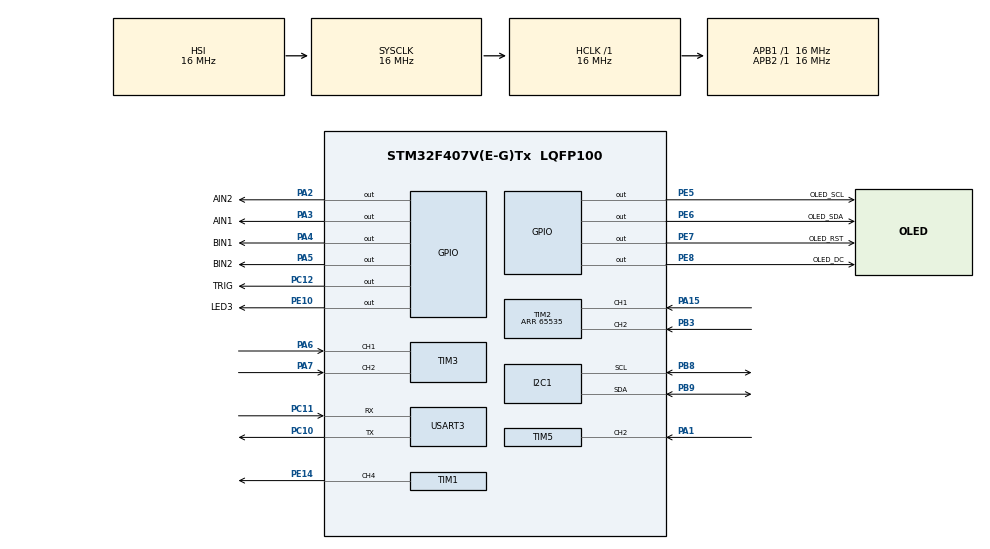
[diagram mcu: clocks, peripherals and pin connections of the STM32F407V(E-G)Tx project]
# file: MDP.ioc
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FREERTOS.Tasks01=defaultTask,24,128,StartDefaultTask,Default,NULL,Dynamic,NULL,NULL;show,8,128,showMsg,Default,NULL,Dynamic,NULL,NULL;MotorTask,8,128,motors,Default,NULL,Dynamic,NULL,NULL;EncoderTask,8,128,encoder,Default,NULL,Dynamic,NULL,NULL;GyroTask,8,128,gryo_task,Default,NULL,Dynamic,NULL,NULL
Mcu.Family=STM32F4
Mcu.Name=STM32F407V(E-G)Tx
Mcu.Package=LQFP100
NVIC.PriorityGroup=NVIC_PRIORITYGROUP_4
NVIC.TIM5_IRQn=true\:5\:0\:false\:false\:true\:true\:true\:true\:true
NVIC.USART3_IRQn=true\:5\:0\:false\:false\:true\:true\:true\:true\:true
PA1.Signal=S_TIM5_CH2
PA15.Signal=S_TIM2_CH1_ETR
PA2.GPIO_Label=AIN2
PA2.GPIO_Speed=GPIO_SPEED_FREQ_HIGH
PA2.Signal=GPIO_Output
PA3.GPIO_Label=AIN1
PA3.GPIO_Speed=GPIO_SPEED_FREQ_HIGH
PA3.Signal=GPIO_Output
PA4.GPIO_Label=BIN1
PA4.Signal=GPIO_Output
PA5.GPIO_Label=BIN2
PA5.Signal=GPIO_Output
PA6.Signal=S_TIM3_CH1
PA7.Signal=S_TIM3_CH2
PB3.Signal=S_TIM2_CH2
PB8.Mode=I2C
PB8.Signal=I2C1_SCL
PB9.Mode=I2C
PB9.Signal=I2C1_SDA
PC10.Mode=Asynchronous
PC10.Signal=USART3_TX
PC11.Mode=Asynchronous
PC11.Signal=USART3_RX
PC12.GPIO_Label=TRIG
PC12.Signal=GPIO_Output
PC6.GPIO_Label=PWMA
PC6.Signal=S_TIM8_CH1
PC7.GPIO_Label=PWMB
PC7.Signal=S_TIM8_CH2
PE10.GPIO_Label=LED3
PE10.Signal=GPIO_Output
PE14.Signal=S_TIM1_CH4
PE5.GPIO_Label=OLED_SCL
PE5.Signal=GPIO_Output
PE6.GPIO_Label=OLED_SDA
PE6.Signal=GPIO_Output
PE7.GPIO_Label=OLED_RST
PE7.Signal=GPIO_Output
PE8.GPIO_Label=OLED_DC
PE8.Signal=GPIO_Output
ProjectManager.HeapSize=0x200
ProjectManager.StackSize=0x400
ProjectManager.TargetToolchain=STM32CubeIDE
RCC.AHBFreq_Value=16000000
RCC.APB1Freq_Value=16000000
RCC.APB2Freq_Value=16000000
RCC.CortexFreq_Value=16000000
RCC.HSE_VALUE=25000000
RCC.HSI_VALUE=16000000
RCC.LSE_VALUE=32768
RCC.SYSCLKFreq_VALUE=16000000
RCC.VCOOutputFreq_Value=192000000
SH.S_TIM1_CH4.0=TIM1_CH4,PWM Generation4 CH4
SH.S_TIM2_CH1_ETR.0=TIM2_CH1,Encoder_Interface
SH.S_TIM2_CH2.0=TIM2_CH2,Encoder_Interface
SH.S_TIM3_CH1.0=TIM3_CH1,Encoder_Interface
SH.S_TIM3_CH2.0=TIM3_CH2,Encoder_Interface
SH.S_TIM5_CH2.0=TIM5_CH2,Input_Capture2_from_TI2
SH.S_TIM8_CH1.0=TIM8_CH1
SH.S_TIM8_CH2.0=TIM8_CH2
TIM1.AutoReloadPreload=TIM_AUTORELOAD_PRELOAD_ENABLE
TIM1.Channel-PWM\ Generation4\ CH4=TIM_CHANNEL_4
TIM1.Period=1000
TIM1.Prescaler=160
TIM2.EncoderMode=TIM_ENCODERMODE_TI12
TIM2.IC1Filter=10
TIM2.Period=65535
TIM3.EncoderMode=TIM_ENCODERMODE_TI12
TIM3.IC1Filter=10
TIM3.IC2Filter=10
TIM5.Channel-Input_Capture2_from_TI2=TIM_CHANNEL_2
TIM5.Period=65535
TIM5.Prescaler=16-1
TIM8.Channel-PWM\ Generation1\ No\ Output=TIM_CHANNEL_1
TIM8.Channel-PWM\ Generation2\ No\ Output=TIM_CHANNEL_2
TIM8.Period=7199
USART3.VirtualMode=VM_ASYNC
VP_FREERTOS_VS_CMSIS_V2.Mode=CMSIS_V2
VP_TIM1_VS_ClockSourceINT.Mode=Internal
VP_TIM8_VS_ClockSourceINT.Mode=Internal
VP_TIM8_VS_no_output1.Mode=PWM Generation1 No Output
VP_TIM8_VS_no_output2.Mode=PWM Generation2 No Output
board=custom

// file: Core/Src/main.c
/* USER CODE BEGIN Header */
/**
  ******************************************************************************
  * @file           : main.c
  * @brief          : Main program body
  ******************************************************************************
  * @attention
  *
  * Copyright (c) 2024 STMicroelectronics.
  * All rights reserved.
  *
  * This software is licensed under terms that can be found in the LICENSE file
  * in the root directory of this software component.
  * If no LICENSE file comes with this software, it is provided AS-IS.
  *
  ******************************************************************************
  */
/* USER CODE END Header */
#include "main.h"
#include "cmsis_os.h"

/* USER CODE BEGIN Includes */
#include "oled.h"
#include <string.h>
#include <stdio.h>
#include <stdlib.h>
#include "gyro.h"
#include "i2c.h"
/* USER CODE END Includes */

I2C_HandleTypeDef hi2c1;

TIM_HandleTypeDef htim1;
TIM_HandleTypeDef htim2;
TIM_HandleTypeDef htim3;
TIM_HandleTypeDef htim5;
TIM_HandleTypeDef htim8;

UART_HandleTypeDef huart3;

/* Definitions for defaultTask */
osThreadId_t defaultTaskHandle;
const osThreadAttr_t defaultTask_attributes = {
  .name = "defaultTask",
  .stack_size = 128 * 4,
  .priority = (osPriority_t) osPriorityNormal,
};
/* Definitions for show */
osThreadId_t showHandle;
const osThreadAttr_t show_attributes = {
  .name = "show",
  .stack_size = 128 * 4,
  .priority = (osPriority_t) osPriorityLow,
};
/* Definitions for MotorTask */
osThreadId_t MotorTaskHandle;
const osThreadAttr_t MotorTask_attributes = {
  .name = "MotorTask",
  .stack_size = 128 * 4,
  .priority = (osPriority_t) osPriorityLow,
};
/* Definitions for EncoderTask */
osThreadId_t EncoderTaskHandle;
const osThreadAttr_t EncoderTask_attributes = {
  .name = "EncoderTask",
  .stack_size = 128 * 4,
  .priority = (osPriority_t) osPriorityLow,
};
/* Definitions for GyroTask */
osThreadId_t GyroTaskHandle;
const osThreadAttr_t GyroTask_attributes = {
  .name = "GyroTask",
  .stack_size = 128 * 4,
  .priority = (osPriority_t) osPriorityLow,
};
/* USER CODE BEGIN PV */
//Queue struct
//to define the nodes for the queue
typedef struct _listnode{
    uint8_t msg[4]; //type for every instruction
    struct _listnode *next;
} ListNode;

typedef ListNode QueueNode; //define QueueNode as a ListNode structure

typedef struct _queue{
   int size; //amount of instructions in the queue
   ListNode *head;
   ListNode *tail;
} Queue;
/* USER CODE END PV */

void SystemClock_Config(void);
static void MX_GPIO_Init(void);
static void MX_TIM8_Init(void);
static void MX_TIM2_Init(void);
static void MX_TIM3_Init(void);
static void MX_USART3_UART_Init(void);
static void MX_TIM1_Init(void);
static void MX_I2C1_Init(void);
static void MX_TIM5_Init(void);
void StartDefaultTask(void *argument);
void showMsg(void *argument);
void motors(void *argument);
void encoder(void *argument);
void gryo_task(void *argument);

/* USER CODE BEGIN PFP */

//Prototypes of Interface functions for Queue structure
void enqueue(Queue *qPtr, uint8_t msg[4]);
int dequeue(Queue *qPtr);
void getFront(Queue q);
int isEmptyQueue(Queue q);
void deleteQueue(Queue *qPtr);

void usDelay(uint16_t time){
	__HAL_TIM_SET_COUNTER(&htim5, 0);
	while(__HAL_TIM_GET_COUNTER (&htim5) < time);
}

/* USER CODE END PFP */

/* USER CODE BEGIN 0 */
uint8_t aRxBuffer[50];

uint8_t frontback = 'w';	// Front/back character
uint8_t fb_speed = '0';		// Front/back speed
uint8_t leftright = 'a';	// Left/right character
uint8_t lr_speed = '0';		// Left/right speed

double curAngle = 0; 		// angle via gyro

int encoder_offset = 0; // Adds to motor pwm for straight movement
int encoder_error = 0;	// Current error value for encoder
uint32_t encoder_dist = 0;	// Total distance estimation (counting encoder pulses)

uint16_t pwmVal_servo = 148; // servo centre

Queue q;

int turn_angle_l = 118;	// gyro turn threshold for 90deg
int turn_angle_r = 118;

// GGGGGGGGG
// Ultrasonic Sensor
uint8_t msg[2] = {'W','1'};

uint32_t IC_Val1 = 0;
uint32_t IC_Val2 = 0;
uint32_t Difference = 0;
uint8_t Is_First_Captured = 0;	//1st value captured
uint8_t Distance = 5;

void HCSR04_Read (void)
{
	HAL_GPIO_WritePin(TRIG_GPIO_Port, TRIG_Pin, GPIO_PIN_SET);  // pull the TRIG pin HIGH
	usDelay(10);  // wait for 10 us
	HAL_GPIO_WritePin(TRIG_GPIO_Port, TRIG_Pin, GPIO_PIN_RESET);  // pull the TRIG pin low
	__HAL_TIM_ENABLE_IT(&htim5, TIM_IT_CC2);
}
/* USER CODE END 0 */

int main(void)
{

  /* MCU Configuration--------------------------------------------------------*/

  /* Reset of all peripherals, Initializes the Flash interface and the Systick. */
  HAL_Init();

  /* Configure the system clock */
  SystemClock_Config();

  /* Initialize all configured peripherals */
  MX_GPIO_Init();
  MX_TIM8_Init();
  MX_TIM2_Init();
  MX_TIM3_Init();
  MX_USART3_UART_Init();
  MX_TIM1_Init();
  MX_I2C1_Init();
  MX_TIM5_Init();
  /* USER CODE BEGIN 2 */
  OLED_Init();
  gyroInit();
  HAL_UART_Receive_IT(&huart3, (uint8_t *)aRxBuffer, 10);
  HAL_TIM_IC_Start_IT(&htim5, TIM_CHANNEL_2);
  /* USER CODE END 2 */

  /* Init scheduler */
  osKernelInitialize();

  /* Create the thread(s) */
  /* creation of defaultTask */
  defaultTaskHandle = osThreadNew(StartDefaultTask, NULL, &defaultTask_attributes);

  /* creation of show */
  showHandle = osThreadNew(showMsg, NULL, &show_attributes);

  /* creation of MotorTask */
  MotorTaskHandle = osThreadNew(motors, NULL, &MotorTask_attributes);

  /* creation of EncoderTask */
  EncoderTaskHandle = osThreadNew(encoder, NULL, &EncoderTask_attributes);

  /* creation of GyroTask */
  GyroTaskHandle = osThreadNew(gryo_task, NULL, &GyroTask_attributes);

  /* Start scheduler */
  osKernelStart();

  /* We should never get here as control is now taken by the scheduler */
  /* Infinite loop */
  while (1)
  {

  }
}

void SystemClock_Config(void)
{
  RCC_OscInitTypeDef RCC_OscInitStruct = {0};
  RCC_ClkInitTypeDef RCC_ClkInitStruct = {0};

  /** Configure the main internal regulator output voltage
  */
  __HAL_RCC_PWR_CLK_ENABLE();
  __HAL_PWR_VOLTAGESCALING_CONFIG(PWR_REGULATOR_VOLTAGE_SCALE1);

  /** Initializes the RCC Oscillators according to the specified parameters
  * in the RCC_OscInitTypeDef structure.
  */
  RCC_OscInitStruct.OscillatorType = RCC_OSCILLATORTYPE_HSI;
  RCC_OscInitStruct.HSIState = RCC_HSI_ON;
  RCC_OscInitStruct.HSICalibrationValue = RCC_HSICALIBRATION_DEFAULT;
  RCC_OscInitStruct.PLL.PLLState = RCC_PLL_NONE;
  if (HAL_RCC_OscConfig(&RCC_OscInitStruct) != HAL_OK)
  {
    Error_Handler();
  }

  /** Initializes the CPU, AHB and APB buses clocks
  */
  RCC_ClkInitStruct.ClockType = RCC_CLOCKTYPE_HCLK|RCC_CLOCKTYPE_SYSCLK
                              |RCC_CLOCKTYPE_PCLK1|RCC_CLOCKTYPE_PCLK2;
  RCC_ClkInitStruct.SYSCLKSource = RCC_SYSCLKSOURCE_HSI;
  RCC_ClkInitStruct.AHBCLKDivider = RCC_SYSCLK_DIV1;
  RCC_ClkInitStruct.APB1CLKDivider = RCC_HCLK_DIV1;
  RCC_ClkInitStruct.APB2CLKDivider = RCC_HCLK_DIV1;

  if (HAL_RCC_ClockConfig(&RCC_ClkInitStruct, FLASH_LATENCY_0) != HAL_OK)
  {
    Error_Handler();
  }
}

static void MX_I2C1_Init(void)
{

  hi2c1.Instance = I2C1;
  hi2c1.Init.ClockSpeed = 100000;
  hi2c1.Init.DutyCycle = I2C_DUTYCYCLE_2;
  hi2c1.Init.OwnAddress1 = 0;
  hi2c1.Init.AddressingMode = I2C_ADDRESSINGMODE_7BIT;
  hi2c1.Init.DualAddressMode = I2C_DUALADDRESS_DISABLE;
  hi2c1.Init.OwnAddress2 = 0;
  hi2c1.Init.GeneralCallMode = I2C_GENERALCALL_DISABLE;
  hi2c1.Init.NoStretchMode = I2C_NOSTRETCH_DISABLE;
  if (HAL_I2C_Init(&hi2c1) != HAL_OK)
  {
    Error_Handler();
  }

}

static void MX_TIM1_Init(void)
{

  TIM_ClockConfigTypeDef sClockSourceConfig = {0};
  TIM_MasterConfigTypeDef sMasterConfig = {0};
  TIM_OC_InitTypeDef sConfigOC = {0};
  TIM_BreakDeadTimeConfigTypeDef sBreakDeadTimeConfig = {0};

  htim1.Instance = TIM1;
  htim1.Init.Prescaler = 160;
  htim1.Init.CounterMode = TIM_COUNTERMODE_UP;
  htim1.Init.Period = 1000;
  htim1.Init.ClockDivision = TIM_CLOCKDIVISION_DIV1;
  htim1.Init.RepetitionCounter = 0;
  htim1.Init.AutoReloadPreload = TIM_AUTORELOAD_PRELOAD_ENABLE;
  if (HAL_TIM_Base_Init(&htim1) != HAL_OK)
  {
    Error_Handler();
  }
  sClockSourceConfig.ClockSource = TIM_CLOCKSOURCE_INTERNAL;
  if (HAL_TIM_ConfigClockSource(&htim1, &sClockSourceConfig) != HAL_OK)
  {
    Error_Handler();
  }
  if (HAL_TIM_PWM_Init(&htim1) != HAL_OK)
  {
    Error_Handler();
  }
  sMasterConfig.MasterOutputTrigger = TIM_TRGO_RESET;
  sMasterConfig.MasterSlaveMode = TIM_MASTERSLAVEMODE_DISABLE;
  if (HAL_TIMEx_MasterConfigSynchronization(&htim1, &sMasterConfig) != HAL_OK)
  {
    Error_Handler();
  }
  sConfigOC.OCMode = TIM_OCMODE_PWM1;
  sConfigOC.Pulse = 0;
  sConfigOC.OCPolarity = TIM_OCPOLARITY_HIGH;
  sConfigOC.OCFastMode = TIM_OCFAST_DISABLE;
  sConfigOC.OCIdleState = TIM_OCIDLESTATE_RESET;
  sConfigOC.OCNIdleState = TIM_OCNIDLESTATE_RESET;
  if (HAL_TIM_PWM_ConfigChannel(&htim1, &sConfigOC, TIM_CHANNEL_4) != HAL_OK)
  {
    Error_Handler();
  }
  sBreakDeadTimeConfig.OffStateRunMode = TIM_OSSR_DISABLE;
  sBreakDeadTimeConfig.OffStateIDLEMode = TIM_OSSI_DISABLE;
  sBreakDeadTimeConfig.LockLevel = TIM_LOCKLEVEL_OFF;
  sBreakDeadTimeConfig.DeadTime = 0;
  sBreakDeadTimeConfig.BreakState = TIM_BREAK_DISABLE;
  sBreakDeadTimeConfig.BreakPolarity = TIM_BREAKPOLARITY_HIGH;
  sBreakDeadTimeConfig.AutomaticOutput = TIM_AUTOMATICOUTPUT_DISABLE;
  if (HAL_TIMEx_ConfigBreakDeadTime(&htim1, &sBreakDeadTimeConfig) != HAL_OK)
  {
    Error_Handler();
  }
  HAL_TIM_MspPostInit(&htim1);

}

static void MX_TIM2_Init(void)
{

  TIM_Encoder_InitTypeDef sConfig = {0};
  TIM_MasterConfigTypeDef sMasterConfig = {0};

  htim2.Instance = TIM2;
  htim2.Init.Prescaler = 0;
  htim2.Init.CounterMode = TIM_COUNTERMODE_UP;
  htim2.Init.Period = 65535;
  htim2.Init.ClockDivision = TIM_CLOCKDIVISION_DIV1;
  htim2.Init.AutoReloadPreload = TIM_AUTORELOAD_PRELOAD_DISABLE;
  sConfig.EncoderMode = TIM_ENCODERMODE_TI12;
  sConfig.IC1Polarity = TIM_ICPOLARITY_RISING;
  sConfig.IC1Selection = TIM_ICSELECTION_DIRECTTI;
  sConfig.IC1Prescaler = TIM_ICPSC_DIV1;
  sConfig.IC1Filter = 10;
  sConfig.IC2Polarity = TIM_ICPOLARITY_RISING;
  sConfig.IC2Selection = TIM_ICSELECTION_DIRECTTI;
  sConfig.IC2Prescaler = TIM_ICPSC_DIV1;
  sConfig.IC2Filter = 0;
  if (HAL_TIM_Encoder_Init(&htim2, &sConfig) != HAL_OK)
  {
    Error_Handler();
  }
  sMasterConfig.MasterOutputTrigger = TIM_TRGO_RESET;
  sMasterConfig.MasterSlaveMode = TIM_MASTERSLAVEMODE_DISABLE;
  if (HAL_TIMEx_MasterConfigSynchronization(&htim2, &sMasterConfig) != HAL_OK)
  {
    Error_Handler();
  }

}

static void MX_TIM3_Init(void)
{

  TIM_Encoder_InitTypeDef sConfig = {0};
  TIM_MasterConfigTypeDef sMasterConfig = {0};

  htim3.Instance = TIM3;
  htim3.Init.Prescaler = 0;
  htim3.Init.CounterMode = TIM_COUNTERMODE_UP;
  htim3.Init.Period = 65535;
  htim3.Init.ClockDivision = TIM_CLOCKDIVISION_DIV1;
  htim3.Init.AutoReloadPreload = TIM_AUTORELOAD_PRELOAD_DISABLE;
  sConfig.EncoderMode = TIM_ENCODERMODE_TI12;
  sConfig.IC1Polarity = TIM_ICPOLARITY_RISING;
  sConfig.IC1Selection = TIM_ICSELECTION_DIRECTTI;
  sConfig.IC1Prescaler = TIM_ICPSC_DIV1;
  sConfig.IC1Filter = 10;
  sConfig.IC2Polarity = TIM_ICPOLARITY_RISING;
  sConfig.IC2Selection = TIM_ICSELECTION_DIRECTTI;
  sConfig.IC2Prescaler = TIM_ICPSC_DIV1;
  sConfig.IC2Filter = 10;
  if (HAL_TIM_Encoder_Init(&htim3, &sConfig) != HAL_OK)
  {
    Error_Handler();
  }
  sMasterConfig.MasterOutputTrigger = TIM_TRGO_RESET;
  sMasterConfig.MasterSlaveMode = TIM_MASTERSLAVEMODE_DISABLE;
  if (HAL_TIMEx_MasterConfigSynchronization(&htim3, &sMasterConfig) != HAL_OK)
  {
    Error_Handler();
  }

}

static void MX_TIM5_Init(void)
{

  TIM_MasterConfigTypeDef sMasterConfig = {0};
  TIM_IC_InitTypeDef sConfigIC = {0};

  htim5.Instance = TIM5;
  htim5.Init.Prescaler = 16-1;
  htim5.Init.CounterMode = TIM_COUNTERMODE_UP;
  htim5.Init.Period = 65535;
  htim5.Init.ClockDivision = TIM_CLOCKDIVISION_DIV1;
  htim5.Init.AutoReloadPreload = TIM_AUTORELOAD_PRELOAD_DISABLE;
  if (HAL_TIM_IC_Init(&htim5) != HAL_OK)
  {
    Error_Handler();
  }
  sMasterConfig.MasterOutputTrigger = TIM_TRGO_RESET;
  sMasterConfig.MasterSlaveMode = TIM_MASTERSLAVEMODE_DISABLE;
  if (HAL_TIMEx_MasterConfigSynchronization(&htim5, &sMasterConfig) != HAL_OK)
  {
    Error_Handler();
  }
  sConfigIC.ICPolarity = TIM_INPUTCHANNELPOLARITY_RISING;
  sConfigIC.ICSelection = TIM_ICSELECTION_DIRECTTI;
  sConfigIC.ICPrescaler = TIM_ICPSC_DIV1;
  sConfigIC.ICFilter = 0;
  if (HAL_TIM_IC_ConfigChannel(&htim5, &sConfigIC, TIM_CHANNEL_2) != HAL_OK)
  {
    Error_Handler();
  }

}

static void MX_TIM8_Init(void)
{

  TIM_ClockConfigTypeDef sClockSourceConfig = {0};
  TIM_MasterConfigTypeDef sMasterConfig = {0};
  TIM_OC_InitTypeDef sConfigOC = {0};
  TIM_BreakDeadTimeConfigTypeDef sBreakDeadTimeConfig = {0};

  htim8.Instance = TIM8;
  htim8.Init.Prescaler = 0;
  htim8.Init.CounterMode = TIM_COUNTERMODE_UP;
  htim8.Init.Period = 7199;
  htim8.Init.ClockDivision = TIM_CLOCKDIVISION_DIV1;
  htim8.Init.RepetitionCounter = 0;
  htim8.Init.AutoReloadPreload = TIM_AUTORELOAD_PRELOAD_DISABLE;
  if (HAL_TIM_Base_Init(&htim8) != HAL_OK)
  {
    Error_Handler();
  }
  sClockSourceConfig.ClockSource = TIM_CLOCKSOURCE_INTERNAL;
  if (HAL_TIM_ConfigClockSource(&htim8, &sClockSourceConfig) != HAL_OK)
  {
    Error_Handler();
  }
  if (HAL_TIM_PWM_Init(&htim8) != HAL_OK)
  {
    Error_Handler();
  }
  sMasterConfig.MasterOutputTrigger = TIM_TRGO_RESET;
  sMasterConfig.MasterSlaveMode = TIM_MASTERSLAVEMODE_DISABLE;
  if (HAL_TIMEx_MasterConfigSynchronization(&htim8, &sMasterConfig) != HAL_OK)
  {
    Error_Handler();
  }
  sConfigOC.OCMode = TIM_OCMODE_PWM1;
  sConfigOC.Pulse = 0;
  sConfigOC.OCPolarity = TIM_OCPOLARITY_HIGH;
  sConfigOC.OCNPolarity = TIM_OCNPOLARITY_HIGH;
  sConfigOC.OCFastMode = TIM_OCFAST_DISABLE;
  sConfigOC.OCIdleState = TIM_OCIDLESTATE_RESET;
  sConfigOC.OCNIdleState = TIM_OCNIDLESTATE_RESET;
  if (HAL_TIM_PWM_ConfigChannel(&htim8, &sConfigOC, TIM_CHANNEL_1) != HAL_OK)
  {
    Error_Handler();
  }
  if (HAL_TIM_PWM_ConfigChannel(&htim8, &sConfigOC, TIM_CHANNEL_2) != HAL_OK)
  {
    Error_Handler();
  }
  sBreakDeadTimeConfig.OffStateRunMode = TIM_OSSR_DISABLE;
  sBreakDeadTimeConfig.OffStateIDLEMode = TIM_OSSI_DISABLE;
  sBreakDeadTimeConfig.LockLevel = TIM_LOCKLEVEL_OFF;
  sBreakDeadTimeConfig.DeadTime = 0;
  sBreakDeadTimeConfig.BreakState = TIM_BREAK_DISABLE;
  sBreakDeadTimeConfig.BreakPolarity = TIM_BREAKPOLARITY_HIGH;
  sBreakDeadTimeConfig.AutomaticOutput = TIM_AUTOMATICOUTPUT_DISABLE;
  if (HAL_TIMEx_ConfigBreakDeadTime(&htim8, &sBreakDeadTimeConfig) != HAL_OK)
  {
    Error_Handler();
  }

}

static void MX_USART3_UART_Init(void)
{

  huart3.Instance = USART3;
  huart3.Init.BaudRate = 115200;
  huart3.Init.WordLength = UART_WORDLENGTH_8B;
  huart3.Init.StopBits = UART_STOPBITS_1;
  huart3.Init.Parity = UART_PARITY_NONE;
  huart3.Init.Mode = UART_MODE_TX_RX;
  huart3.Init.HwFlowCtl = UART_HWCONTROL_NONE;
  huart3.Init.OverSampling = UART_OVERSAMPLING_16;
  if (HAL_UART_Init(&huart3) != HAL_OK)
  {
    Error_Handler();
  }

}

static void MX_GPIO_Init(void)
{
  GPIO_InitTypeDef GPIO_InitStruct = {0};

  /* GPIO Ports Clock Enable */
  __HAL_RCC_GPIOE_CLK_ENABLE();
  __HAL_RCC_GPIOA_CLK_ENABLE();
  __HAL_RCC_GPIOC_CLK_ENABLE();
  __HAL_RCC_GPIOB_CLK_ENABLE();

  /*Configure GPIO pin Output Level */
  HAL_GPIO_WritePin(GPIOE, OLED_SCL_Pin|OLED_SDA_Pin|OLED_RST_Pin|OLED_DC_Pin
                          |LED3_Pin, GPIO_PIN_RESET);

  /*Configure GPIO pin Output Level */
  HAL_GPIO_WritePin(GPIOA, AIN2_Pin|AIN1_Pin|BIN1_Pin|BIN2_Pin, GPIO_PIN_RESET);

  /*Configure GPIO pin Output Level */
  HAL_GPIO_WritePin(TRIG_GPIO_Port, TRIG_Pin, GPIO_PIN_RESET);

  /*Configure GPIO pins : OLED_SCL_Pin OLED_SDA_Pin OLED_RST_Pin OLED_DC_Pin
                           LED3_Pin */
  GPIO_InitStruct.Pin = OLED_SCL_Pin|OLED_SDA_Pin|OLED_RST_Pin|OLED_DC_Pin
                          |LED3_Pin;
  GPIO_InitStruct.Mode = GPIO_MODE_OUTPUT_PP;
  GPIO_InitStruct.Pull = GPIO_NOPULL;
  GPIO_InitStruct.Speed = GPIO_SPEED_FREQ_LOW;
  HAL_GPIO_Init(GPIOE, &GPIO_InitStruct);

  /*Configure GPIO pins : AIN2_Pin AIN1_Pin */
  GPIO_InitStruct.Pin = AIN2_Pin|AIN1_Pin;
  GPIO_InitStruct.Mode = GPIO_MODE_OUTPUT_PP;
  GPIO_InitStruct.Pull = GPIO_NOPULL;
  GPIO_InitStruct.Speed = GPIO_SPEED_FREQ_HIGH;
  HAL_GPIO_Init(GPIOA, &GPIO_InitStruct);

  /*Configure GPIO pins : BIN1_Pin BIN2_Pin */
  GPIO_InitStruct.Pin = BIN1_Pin|BIN2_Pin;
  GPIO_InitStruct.Mode = GPIO_MODE_OUTPUT_PP;
  GPIO_InitStruct.Pull = GPIO_NOPULL;
  GPIO_InitStruct.Speed = GPIO_SPEED_FREQ_LOW;
  HAL_GPIO_Init(GPIOA, &GPIO_InitStruct);

  /*Configure GPIO pin : TRIG_Pin */
  GPIO_InitStruct.Pin = TRIG_Pin;
  GPIO_InitStruct.Mode = GPIO_MODE_OUTPUT_PP;
  GPIO_InitStruct.Pull = GPIO_NOPULL;
  GPIO_InitStruct.Speed = GPIO_SPEED_FREQ_LOW;
  HAL_GPIO_Init(TRIG_GPIO_Port, &GPIO_InitStruct);

}

/* USER CODE BEGIN 4 */
void HAL_UART_RxCpltCallback(UART_HandleTypeDef *huart){

	UNUSED(huart);

	//enqueue(&q,aRxBuffer);

	HAL_UART_Transmit(&huart3,(uint8_t *) aRxBuffer,10,0xFFFF);
	HAL_GPIO_TogglePin(LED3_GPIO_Port, LED3_Pin);
}

//linked list code
void reset_motorVal(){
	// Reset Values
	frontback = 'w';	// Front/back character
	fb_speed = '0';	// Front/back speed
	leftright = 'a';	// Left/right character
	lr_speed = '0';	// Left/right speed
}

//input stuff into the queue
void enqueue(Queue *qPtr, uint8_t msg[4]){
    QueueNode *newNode;
    newNode = (QueueNode *) malloc(sizeof(QueueNode));
    for(int i=0; i<4; i++){
        newNode->msg[i] = msg[i];
    }
    newNode->next = NULL;

    if(isEmptyQueue(*qPtr))
        qPtr->head=newNode;
    else
        qPtr->tail->next = newNode;

    qPtr->tail = newNode;
    qPtr->size++;
}
int dequeue(Queue *qPtr){
    if(qPtr==NULL || qPtr->head==NULL){ //Queue is empty or NULL pointer
        return 0;
    }
    else{
       QueueNode *temp = qPtr->head;
       qPtr->head = qPtr->head->next;
       if(qPtr->head == NULL) //Queue is emptied
           qPtr->tail = NULL;

       free(temp);
       qPtr->size--;
       return 1;
    }
}

//get the front of the queue (not sure if working)
void getFront(Queue q){
        frontback = (uint8_t)(q.head->msg[0]);
        fb_speed = (uint8_t)(q.head->msg[1]);
        leftright = (uint8_t)(q.head->msg[2]);
        lr_speed = (uint8_t)(q.head->msg[3]);
}

//check if queue is empty (output 1 if empty, 0 if not empty)
int isEmptyQueue(Queue q){
    if(q.size==0) return 1;
    else return 0;
}

//delete the whole queue
void deleteQueue(Queue *qPtr)
{
    while(dequeue(qPtr));
}
/* USER CODE END 4 */

void StartDefaultTask(void *argument)
{
  /* USER CODE BEGIN 5 */
  /* Infinite loop */
  uint8_t ch = 'A';
  for(;;)
  {
	HAL_UART_Transmit(&huart3, (uint8_t *)&ch,1, 0xFFFF);
	if(ch<'Z')
		ch++;
	else ch = 'A';

	HAL_GPIO_TogglePin(LED3_GPIO_Port, LED3_Pin);
	osDelay(1000);
  }
  /* USER CODE END 5 */
}

void showMsg(void *argument)
{
  /* USER CODE BEGIN showMsg */
  uint8_t test[20] = "testing\0";

  /* Infinite loop */
  for(;;)
  {
   sprintf(test, "%s\0", aRxBuffer);
   OLED_ShowString(10,20,test);
   OLED_Refresh_Gram();
   osDelay(1000);
  }
  /* USER CODE END showMsg */
}

void motors(void *argument)
{
	/* USER CODE BEGIN motor */
	uint16_t servo_max = 5;		// Servo_max * (0-9) = servo_value

	// For differential steering
	double motor_offset_r = 1;
	double motor_offset_l = 1;

	uint16_t pwmVal_motor = 0;	// Current motor pwm value
	uint16_t motor_min = 1000;// Min value for pwm to complete 2 instruction without stopping
	uint16_t motor_increment = 100;
	uint8_t accelerate;

	uint16_t motor_reference;	// Reference pwm value for motor
	uint32_t target_dist;	// Distance to travel

	// PID Values
	uint8_t kp = 3;
	uint8_t ki = 0.8;

	uint8_t kp_back = 2;

	// Distance Values
	uint8_t grad = 160;
	uint8_t y_intercept = 55;

	int16_t eintegral = 0;	// Integral error
	int32_t err;			// To total error for Integral
	int back_angle_threshold;

	// Set servo value to centre
	uint8_t servo_val = pwmVal_servo;

	// Adds to servo middle value to find the goddamn pictures
	uint8_t search_dir = 0;

	HAL_TIM_PWM_Start(&htim8, TIM_CHANNEL_1);
	HAL_TIM_PWM_Start(&htim8, TIM_CHANNEL_2);
	HAL_TIM_PWM_Start(&htim1, TIM_CHANNEL_4);

	int turn_angle;
	int stuck;
	// Initialize your queue
	Queue q = { 0, NULL, NULL };

	// Define your instructions using the uint8_t arrays where:
	// msg[0] - Front/Back instruction ('w' for forward, 's' for backward, 'k' for stop)
	// msg[1] - Distance back and front
	// msg[2] - Left/Right instruction ('a' for left, 'd' for right, '0' for center)
	// msg[3] - Speed for turning

	// Create instructions
	uint8_t reset[] = {'z', '0', '0', '0'}; // Stop
	uint8_t stop[] = {'k', '0', '0', '0'}; // Stop
	//uint8_t F3[] = {'w', '1', '0', '0'}; // Move forward with speed level 3 and turn left with speed level 4
	uint8_t up_right_90[] = {'w', '5', 'd','8'}; // Move forward with speed level 3 and turn left with speed level 4
	uint8_t up_right_45[] = {'w', '5', 'd','5'}; // Move forward with speed level 3 and turn left with speed level 4
	uint8_t up_left_90[] = {'w', '5', 'a','9'}; // Move forward with speed level 3 and turn left with speed level 4
	uint8_t up_left_45[] = {'w', '5', 'a','5'}; // Move forward with speed level 3 and turn left with speed level 4
	uint8_t up_max[] = {'w', '9', '0','0'}; // Move forward with speed level 3 and turn left with speed level 4

	// Enqueue the instructions
	enqueue(&q, reset);
	enqueue(&q, up_right_90);
	enqueue(&q, up_max);
	enqueue(&q, up_left_45);
	enqueue(&q, up_max);
	enqueue(&q, up_right_45);
	enqueue(&q, up_max);
	enqueue(&q, up_right_45);

	/* Infinite loop */
	for (;;) {
		if (isEmptyQueue(q) != 1) {
			stuck = 0;
			uint8_t hello[20];

			// Setting values according to queue head
			getFront(q);
			// Reset Encoder distance measurement
			encoder_dist = 0;
			// Integral error
			eintegral = 0;

			// Default: Start with acceleration
			accelerate = 1;
			target_dist = (int) ((fb_speed - 48) * grad - y_intercept);
			if (target_dist <= 0)
				target_dist = 0;

			// Display direction of movement
			sprintf(hello, "Dir %c : %3d\0", frontback, (fb_speed - 48));
			OLED_ShowString(10, 30, hello);

			// Check if moving straight or turn
			if (lr_speed == '0') {
				//Move faster if straight
				motor_reference = 2800;
			}

			else
				motor_reference = 1600;

			// Turn Servo to desired position
			// Centre - offset for left turn
			if (leftright == 'a') {
				// Decrease in servo's position from center
				// -48 to convert ASCII to integer
				// servo_max declared at 5
				htim1.Instance->CCR4 = pwmVal_servo - 1.1 * (lr_speed - 48) * servo_max;
				// right motor offset
				// right motor spins more due to differential steering
				motor_offset_r = 0.03 * (lr_speed - 48) + 1;
				motor_offset_l = 1;

				// Front Gyro threshold
				if (frontback == 'w')
					// if traveling forward then angle = left turn angle
					turn_angle = turn_angle_l;
				// Back Gyro threshold
				else
					// angle = right turn angle
					turn_angle = turn_angle_r;

			} else if (leftright == 'd') {
				htim1.Instance->CCR4 = pwmVal_servo + 1.73 * (lr_speed - 48) * servo_max;
				// left motor offset
				motor_offset_r = 1;
				motor_offset_l = 0.03 * (lr_speed - 48) + 1;

				// Front Gyro Threshold
				if (frontback == 'w')
					turn_angle = turn_angle_r;
				// Back Gyro threshold
				else
					turn_angle = turn_angle_l;
			}

			pwmVal_motor = motor_min;

			// Move Motor forward (Normal)
			if (frontback == 'w') {
				for (;;) {
					// H-Bridge Circuit for AINx; 1 turn on, the other turns off
					// MOTOR A
					HAL_GPIO_WritePin(GPIOA, AIN2_Pin, GPIO_PIN_SET);
					HAL_GPIO_WritePin(GPIOA, AIN1_Pin, GPIO_PIN_RESET);

					// MOTOR B
					HAL_GPIO_WritePin(GPIOA, BIN2_Pin, GPIO_PIN_SET);
					HAL_GPIO_WritePin(GPIOA, BIN1_Pin, GPIO_PIN_RESET);

					// Going straight only
					if (lr_speed == '0') {
						__HAL_TIM_SetCompare(&htim8, TIM_CHANNEL_1, motor_offset_r*pwmVal_motor);
						__HAL_TIM_SetCompare(&htim8, TIM_CHANNEL_2, motor_offset_l*pwmVal_motor);

						if (accelerate == 1) {
							// Accelerating
							pwmVal_motor += motor_increment;

							// Accelerate till hit reference speed before maintaining constant speed
							// Reference speed is determined above, based on if it is moving straight or turning
							if (pwmVal_motor >= motor_reference) {
								// Acc flag set to 0
								accelerate = 0;
								// PID for error adjustment
								while (encoder_dist < (int) target_dist * 0.95) {
									// Proportional Error: Output value proportional to current error value

									// Err: Difference between current angle and target angle
									// (0 in this case since it is moving straight)
									err = curAngle - 0;
									// Integral error: Accumulation of past error, removal of residual SSE that occurs with pure proportional control
									eintegral += err;

									// PID equation
									// Controller adjusts servo's position to correct any deviations from straight path
									// Pre-defined kp = 3; ki = 0.8;
									servo_val = (uint8_t) (pwmVal_servo + kp * err + ki * eintegral);

									// Error Correction: Set servo value to correct error
									htim1.Instance->CCR4 = servo_val;

									stuck++;
									if (stuck > 600) {
										encoder_dist = target_dist;
										break;
									}

									osDelay(10);
								}
							}
						}

						// Deceleration and Distance Monitoring
						else {
							// Gradual deceleration
							if (pwmVal_motor > motor_min)
								pwmVal_motor -= 5 * motor_increment;

							// Break movement loop once target distance is covered
							if (encoder_dist >= target_dist)
								break;
						}

					}// End of Straight movement

					// 45 deg turn
					// Distance Values: grad = 160; y_intercept = 55;
					else if (lr_speed < '6') {
						target_dist = (int) (2 * grad - y_intercept);

						gyroStart();
						osDelay(100);

						// Target Angle Threshold: Prevent overshooting
						turn_angle = 0.525 * turn_angle;

						// Set speed
						pwmVal_motor = (int) ((fb_speed - 48) * 400);

						/************ Stage 1 45 deg turn out *********************/
						// Move motor
						__HAL_TIM_SetCompare(&htim8, TIM_CHANNEL_1, motor_offset_r*pwmVal_motor);
						__HAL_TIM_SetCompare(&htim8, TIM_CHANNEL_2, motor_offset_l*pwmVal_motor);

						// Continuous check to move angle to threshold
						while (abs(curAngle) < turn_angle) {
							osDelay(10);
						}

						// Once Threshold (45 degrees) reached, turn servo to center
						htim1.Instance->CCR4 = pwmVal_servo;

						// Stop motor
						__HAL_TIM_SetCompare(&htim8, TIM_CHANNEL_1, 0);
						__HAL_TIM_SetCompare(&htim8, TIM_CHANNEL_2, 0);

						// curAngle: adjusted to account for overflow/underflow error in turn angle measurement
						// Prep for subsequent movements
						curAngle = curAngle > 0 ? curAngle - turn_angle : curAngle + turn_angle;

						// Wait for full stability
						osDelay(500);
						break;
						/************ Stage 2 Move forward and turn back straight *************/

						// Stage 1: Initial 45 degree turn
						// Stage 2: Forward Movement + Realignment

						/*// Move motor
						__HAL_TIM_SetCompare(&htim8, TIM_CHANNEL_1, motor_offset_r*pwmVal_motor);
						__HAL_TIM_SetCompare(&htim8, TIM_CHANNEL_2, motor_offset_l*pwmVal_motor);

						// PID Correction: Error adjustment
						while (encoder_dist < target_dist) {

							// Proportional error
							err = curAngle - 0;
							// Integral error
							eintegral += err;

							// PID equation
							servo_val = (uint8_t) (pwmVal_servo + kp * err + ki * eintegral);

							// Set servo value
							htim1.Instance->CCR4 = servo_val;// Turn servo to correct error
						}

						// Stop motor
						__HAL_TIM_SetCompare(&htim8, TIM_CHANNEL_1, 0);
						__HAL_TIM_SetCompare(&htim8, TIM_CHANNEL_2, 0);*/
					}

					// Turning 90 degree
					else {
						gyroStart();
						osDelay(100);

						// Set speed
						pwmVal_motor = (int) ((fb_speed - 48) * 400);

						// Move motor
						__HAL_TIM_SetCompare(&htim8, TIM_CHANNEL_1, motor_offset_r*pwmVal_motor);
						__HAL_TIM_SetCompare(&htim8, TIM_CHANNEL_2, motor_offset_l*pwmVal_motor);

						// Move til angle threshold
						// Did not apply the same fractional adjustment for turn_angle
						while (abs(curAngle) < turn_angle) {
							osDelay(10);
							stuck++;
							if (stuck > 1000) {
								curAngle = curAngle > 0 ? curAngle - turn_angle : curAngle + turn_angle;
								break;
							}
						}

						// Once Threshold reached, turn servo centre
						htim1.Instance->CCR4 = pwmVal_servo;

						// Stop motor
						pwmVal_motor = 0;
						__HAL_TIM_SetCompare(&htim8, TIM_CHANNEL_1, motor_offset_r*pwmVal_motor);
						__HAL_TIM_SetCompare(&htim8, TIM_CHANNEL_2, motor_offset_l*pwmVal_motor);

						// curAngle: adjusted to account for overflow/underflow error in turn angle measurement
						// Prep for subsequent movements
						curAngle =	curAngle > 0 ? curAngle - turn_angle : curAngle + turn_angle;

						kp = 3;
						ki = 0.8;
						eintegral = 0;	// Integral error

						osDelay(1000);

						// Break movement loop
						break;
					}	// End of Turning

					// To let gyro have the task thread or else OS will only focus on motor thread
					osDelay(10);

				}
			}

			// Move Motor backwards(Normal)
			else if (frontback == 's') {
				for (;;) {
					// MOTOR A
					HAL_GPIO_WritePin(GPIOA, AIN2_Pin, GPIO_PIN_RESET);
					HAL_GPIO_WritePin(GPIOA, AIN1_Pin, GPIO_PIN_SET);

					// MOTOR B
					HAL_GPIO_WritePin(GPIOA, BIN2_Pin, GPIO_PIN_RESET);
					HAL_GPIO_WritePin(GPIOA, BIN1_Pin, GPIO_PIN_SET);

					// Going straight only
					if (lr_speed == '0') {
						__HAL_TIM_SetCompare(&htim8, TIM_CHANNEL_1, motor_offset_r*pwmVal_motor);
						__HAL_TIM_SetCompare(&htim8, TIM_CHANNEL_2, motor_offset_l*pwmVal_motor);

						if (accelerate == 1) {

							pwmVal_motor += motor_increment;	// Accelerating

							if (pwmVal_motor >= motor_reference) {// Constant speed
								accelerate = 0;
								while (encoder_dist < (int) target_dist * 0.95) {
									// PID for error adjustment
									err = curAngle - 0;	// Proportional error
									eintegral += err;		// Integral error

									// PID equation (opposite correction)
									servo_val = (uint8_t) (pwmVal_servo - kp * err - ki * eintegral);

									// Set servo value
									htim1.Instance->CCR4 = servo_val;// Turn servo to correct error

									stuck++;
									if (stuck > 600) {
										encoder_dist = target_dist;
										break;
									}

									osDelay(10);
								}
							}
						}

						else {		// Decelerate
							if (pwmVal_motor > motor_min)
								pwmVal_motor -= 5 * motor_increment;

							// Break movement loop
							if (encoder_dist >= target_dist)
								break;
						}

					}		// End of Straight movement

					// Turning
					else {
						gyroStart();
						osDelay(100);

						back_angle_threshold = (int) (0.95 * turn_angle);

						pwmVal_motor = (int) ((fb_speed - 48) * 400);

						// Move motor
						__HAL_TIM_SetCompare(&htim8, TIM_CHANNEL_1, motor_offset_r*pwmVal_motor);
						__HAL_TIM_SetCompare(&htim8, TIM_CHANNEL_2, motor_offset_l*pwmVal_motor);

						// Move til angle threshold
						while (abs(curAngle) < back_angle_threshold) { // Tends to over steer a lot
							osDelay(10);
							stuck++;
							if (stuck > 1000) {
								curAngle = curAngle > 0 ? curAngle - back_angle_threshold : curAngle + back_angle_threshold;
								break;
							}
						}

						// Once Threshold reached, turn servo centre
						htim1.Instance->CCR4 = pwmVal_servo; // Turn servo to the centre

						// Stop motor
						pwmVal_motor = 0;
						__HAL_TIM_SetCompare(&htim8, TIM_CHANNEL_1, motor_offset_r*pwmVal_motor);
						__HAL_TIM_SetCompare(&htim8, TIM_CHANNEL_2, motor_offset_l*pwmVal_motor);

						// Let overflow be error to account for
						curAngle = curAngle > 0 ? curAngle - back_angle_threshold : curAngle + back_angle_threshold;

						kp = kp_back;
						ki = 0.8;
						eintegral = 0;	// Integral error

						osDelay(1000);

						// Break movement loop
						break;
					}	// End of Turning

					// To let gyro have the task thread or else OS will only focus on motor thread
					osDelay(10);
				}
			}

			// No motor/reset values and start gyro
			else if (frontback == 'k') {
				// Reset all values
				encoder_offset = 0;
				encoder_error = 0;
				curAngle = 0;
				pwmVal_motor = 0;

				__HAL_TIM_SetCompare(&htim8, TIM_CHANNEL_1, pwmVal_motor);
				__HAL_TIM_SetCompare(&htim8, TIM_CHANNEL_2, pwmVal_motor);

				osDelay(1500);
				gyroStart();					// Start Gyro Calibration

				osDelay((fb_speed - 48) * 50);	// Additional delay if required
			}

			// Move backwards (Slow)
			else if (frontback == 'y') {

				// E.g. 8cm back movement, target_dist = 80
				target_dist = (int) ((fb_speed - 48) * 10);
				// Slow down reference
				pwmVal_motor = motor_min;

				// MOTOR A
				HAL_GPIO_WritePin(GPIOA, AIN2_Pin, GPIO_PIN_RESET);
				HAL_GPIO_WritePin(GPIOA, AIN1_Pin, GPIO_PIN_SET);

				// MOTOR B
				HAL_GPIO_WritePin(GPIOA, BIN2_Pin, GPIO_PIN_RESET);
				HAL_GPIO_WritePin(GPIOA, BIN1_Pin, GPIO_PIN_SET);

				// Move Motor
				__HAL_TIM_SetCompare(&htim8, TIM_CHANNEL_1, pwmVal_motor);
				__HAL_TIM_SetCompare(&htim8, TIM_CHANNEL_2, pwmVal_motor);

				while (encoder_dist < (int) target_dist * 0.95) {
					// PID for error adjustment
					err = curAngle - 0;		// Proportional error
					eintegral += err;		// Integral error

					// PID equation (opposite correction)
					servo_val = (uint8_t) (pwmVal_servo - 0.8 * (kp * err + ki * eintegral));

					// Set servo value
					htim1.Instance->CCR4 = servo_val;// Turn servo to correct error

					osDelay(1);
				}

				// Stop motor
				__HAL_TIM_SetCompare(&htim8, TIM_CHANNEL_1, 0);
				__HAL_TIM_SetCompare(&htim8, TIM_CHANNEL_2, 0);

			}

			// Move forwards (Slow)
			else if (frontback == 'u') {
				target_dist = (int) ((fb_speed - 48) * 10);

				// Slow down reference
				pwmVal_motor = motor_min;

				// MOTOR A
				HAL_GPIO_WritePin(GPIOA, AIN2_Pin, GPIO_PIN_SET);
				HAL_GPIO_WritePin(GPIOA, AIN1_Pin, GPIO_PIN_RESET);

				// MOTOR B
				HAL_GPIO_WritePin(GPIOA, BIN2_Pin, GPIO_PIN_SET);
				HAL_GPIO_WritePin(GPIOA, BIN1_Pin, GPIO_PIN_RESET);

				// Move motor
				__HAL_TIM_SetCompare(&htim8, TIM_CHANNEL_1, pwmVal_motor);
				__HAL_TIM_SetCompare(&htim8, TIM_CHANNEL_2, pwmVal_motor);

				while (encoder_dist < (int) target_dist * 0.95) {
					// PID for error adjustment
					err = curAngle - 0;		// Proportional error
					eintegral += err;		// Integral error

					// PID equation
					servo_val = (uint8_t) (pwmVal_servo + 0.8 * (kp * err + ki * eintegral));

					htim1.Instance->CCR4 = servo_val;

					osDelay(1);
				}

				// Stop motor
				__HAL_TIM_SetCompare(&htim8, TIM_CHANNEL_1, 0);
				__HAL_TIM_SetCompare(&htim8, TIM_CHANNEL_2, 0);

			}

			else if (frontback == 'l') {
				// Outside
				if (fb_speed == '1') {
					grad = 142;
					y_intercept = 50;
				}

				else {
					grad = 163;
					y_intercept = 55;
					kp_back = 5;
				}
			}

			// No Image found (Emergency Fail Safe)
			else if (frontback == 'n') {
				encoder_dist = 0;

				int8_t angle_to_turn;

				// Initialise motor
				// MOTOR A
				HAL_GPIO_WritePin(GPIOA, AIN2_Pin, GPIO_PIN_SET);
				HAL_GPIO_WritePin(GPIOA, AIN1_Pin, GPIO_PIN_RESET);

				// MOTOR B
				HAL_GPIO_WritePin(GPIOA, BIN2_Pin, GPIO_PIN_SET);
				HAL_GPIO_WritePin(GPIOA, BIN1_Pin, GPIO_PIN_RESET);

				// Clockwise search
				if (search_dir == 0) {
					// Turn the wheel
					htim1.Instance->CCR4 = pwmVal_servo + 40;// similar to u5a0

					// Move motor
					__HAL_TIM_SetCompare(&htim8, TIM_CHANNEL_1, 800);
					__HAL_TIM_SetCompare(&htim8, TIM_CHANNEL_2, 2600);

					angle_to_turn = curAngle - (int) (turn_angle / 2);

					// Move til angle threshold
					while (curAngle > angle_to_turn) // Turn 45 degree
						osDelay(10);

					// Stop motor
					__HAL_TIM_SetCompare(&htim8, TIM_CHANNEL_1, 0);
					__HAL_TIM_SetCompare(&htim8, TIM_CHANNEL_2, 0);

					osDelay(500);

					htim1.Instance->CCR4 = pwmVal_servo;

					// Let it go back same amount
					target_dist = 0.9 * encoder_dist;
					encoder_dist = 0;

					// Reverse Motor
					// MOTOR A
					HAL_GPIO_WritePin(GPIOA, AIN2_Pin, GPIO_PIN_RESET);
					HAL_GPIO_WritePin(GPIOA, AIN1_Pin, GPIO_PIN_SET);

					// MOTOR B
					HAL_GPIO_WritePin(GPIOA, BIN2_Pin, GPIO_PIN_RESET);
					HAL_GPIO_WritePin(GPIOA, BIN1_Pin, GPIO_PIN_SET);

					osDelay(10);

					// Move motor
					__HAL_TIM_SetCompare(&htim8, TIM_CHANNEL_1, 2000);
					__HAL_TIM_SetCompare(&htim8, TIM_CHANNEL_2, 2000);

					while (encoder_dist < target_dist) {
						osDelay(10);
					}

					// Stop motor
					__HAL_TIM_SetCompare(&htim8, TIM_CHANNEL_1, 0);
					__HAL_TIM_SetCompare(&htim8, TIM_CHANNEL_2, 0);

					search_dir = !search_dir;
					//					// Turned
					//					if(abs(curAngle) > abs(turn_angle)){
				}

				else {
					// Turn the wheel
					htim1.Instance->CCR4 = pwmVal_servo - 30;// similar to u5a0

					// Move motor
					__HAL_TIM_SetCompare(&htim8, TIM_CHANNEL_1, 2600);
					__HAL_TIM_SetCompare(&htim8, TIM_CHANNEL_2, 800);

					angle_to_turn = curAngle + (int) (turn_angle / 2);

					// Move til angle threshold
					while (curAngle < angle_to_turn) // Turn 45 degree
						osDelay(10);

					// Stop motor
					__HAL_TIM_SetCompare(&htim8, TIM_CHANNEL_1, 0);
					__HAL_TIM_SetCompare(&htim8, TIM_CHANNEL_2, 0);

					osDelay(500);

					htim1.Instance->CCR4 = pwmVal_servo;

					// Let it go back same amount
					target_dist = 0.9 * encoder_dist;
					encoder_dist = 0;

					// Reverse Motor
					// MOTOR A
					HAL_GPIO_WritePin(GPIOA, AIN2_Pin, GPIO_PIN_RESET);
					HAL_GPIO_WritePin(GPIOA, AIN1_Pin, GPIO_PIN_SET);

					// MOTOR B
					HAL_GPIO_WritePin(GPIOA, BIN2_Pin, GPIO_PIN_RESET);
					HAL_GPIO_WritePin(GPIOA, BIN1_Pin, GPIO_PIN_SET);

					osDelay(10);

					// Move motor
					__HAL_TIM_SetCompare(&htim8, TIM_CHANNEL_1, 2000);
					__HAL_TIM_SetCompare(&htim8, TIM_CHANNEL_2, 2000);

					while (encoder_dist < target_dist) {
						osDelay(10);
					}

					// Stop motor
					__HAL_TIM_SetCompare(&htim8, TIM_CHANNEL_1, 0);
					__HAL_TIM_SetCompare(&htim8, TIM_CHANNEL_2, 0);

					if (curAngle >= turn_angle / 2)
						search_dir = !search_dir;
				}

			}

			// Read Ultrasonic Sensor for distance
			else if (frontback == 'h') {
				osDelay(100);
				HCSR04_Read();

				msg[1] = Distance;
				if (HAL_UART_Transmit(&huart3, (uint8_t*) msg, 2, 0xFFFF) == HAL_OK)
					HAL_GPIO_TogglePin(LED3_GPIO_Port, LED3_Pin);
			}

			// Send Message to Rpi to signify completion
			else if (frontback == 'm') {
				osDelay(100);

				msg[0] = 'e';
				for (int j = 0; j < 4; j++) {
					HAL_UART_Transmit(&huart3, (uint8_t*) msg, 2, 0xFFFF);
					osDelay(100);
				}
				HAL_GPIO_TogglePin(LED3_GPIO_Port, LED3_Pin);

				msg[0] = 'w';
			}

			else if (frontback == 'z') {
				osDelay(100);
				htim1.Instance->CCR4 = 198;
				osDelay(1000);
				htim1.Instance->CCR4 = 98;
				osDelay(1000);
				htim1.Instance->CCR4 = pwmVal_servo;
				osDelay(500);
				HAL_GPIO_TogglePin(LED3_GPIO_Port, LED3_Pin);
			}

			osDelay(10);
			dequeue(&q);

		}	// ENDIF Queue not empty

		// Queue empty
		else {
			reset_motorVal();	//Reset the values
			pwmVal_motor = 0;

			htim1.Instance->CCR4 = pwmVal_servo;	// Reset Servo values

			// Stop motor
			__HAL_TIM_SetCompare(&htim8, TIM_CHANNEL_1, pwmVal_motor);
			__HAL_TIM_SetCompare(&htim8, TIM_CHANNEL_2, pwmVal_motor);
		}

	}
	/* USER CODE END motor */

}

void encoder(void *argument)
{
  /* USER CODE BEGIN encoder */

  //Initializes Timer 2 to start counting pulses from encoder on input channels
  HAL_TIM_Encoder_Start(&htim2, TIM_CHANNEL_ALL);
  HAL_TIM_Encoder_Start(&htim3,TIM_CHANNEL_ALL);

  //Store encoder counts at different times
  int cnt1, cnt3;
  //hold difference in encoder counts, used to calculate speed
  int diffa=0, diffb=0;
  //store timestamp for timing purpose
  uint32_t tick;
  //format strings for OLED
  uint8_t msg[20];

  //obtain current system time in ms
  tick = HAL_GetTick();

  /* Infinite loop */
  //checks encoder's position and calculating speed based on position change over time
  for(;;)
  {
		// Every 1000 ticks, get reading(How fast wheel turn)
		if(HAL_GetTick()-tick > 10){

			// At rising edge, counter increase by 1
			cnt1 = __HAL_TIM_GET_COUNTER(&htim2);
			cnt3 = __HAL_TIM_GET_COUNTER(&htim3);

			/* Motor A */
			// Counting up; Motor moving forward
			// 32500 is the max tick
			if (cnt1 - 32500 > 0) {
				diffa = cnt1 - 65535;
			}
			// Counting down; Motor moving backward
			else if (cnt1 - 32500 < 0) {
				diffa = cnt1;
			}

			/* Motor B */
			// Counting up; Motor moving backward
			if (cnt3 - 32500 > 0) {
				diffb = (cnt3 - 65535);
			}
			// Counting down; Motor moving forward
			else if (cnt3 - 32500 < 0) {
				diffb = cnt3;
			}

			encoder_error = diffa + diffb;
			// Updating of total distance
			encoder_dist += (abs(diffa) + abs(diffb));

			//sprintf(msg, "Diff:%3d\0", encoder_error);
			//OLED_ShowString(10, 30, msg);

			//Distance (meters)= (PPR×Gear Ratio/Encoder Counts)*Wheel Circumference (meters)
			sprintf(msg, "Dist:%3d\0", encoder_dist);
			OLED_ShowString(10, 40, msg);

			// Reset base tick
			__HAL_TIM_SET_COUNTER(&htim2, 0);
			__HAL_TIM_SET_COUNTER(&htim3, 0);

			tick = HAL_GetTick();

			osDelay(10);
		}
	}
  /* USER CODE END encoder */
}

void gryo_task(void *argument)
{
	/* USER CODE BEGIN gyro_task */
	/* Infinite loop */
	uint8_t val[2] = { 0, 0 }; // To store ICM gyro values
	gyroInit();
	int16_t angular_speed = 0;
	int16_t angle = 0;

	curAngle = 0;
	uint32_t tick = HAL_GetTick();
	osDelay(100);
	for (;;) {
		uint8_t msg[8];
		readByte(0x37, val);
		angular_speed = (val[0] << 8) | val[1];	// appending the 2 bytes together
		angle = ((double) (angular_speed * (100)) / 10000.0); //1.69

		curAngle += angle;

		sprintf(msg, "gyro : %3d\0", (int) curAngle);
		OLED_ShowString(10, 20, msg);

		osDelay(100);
	}
	/* USER CODE END gyro_task */
}

void Error_Handler(void)
{
  __disable_irq();
  while (1)
  {
  }
}
